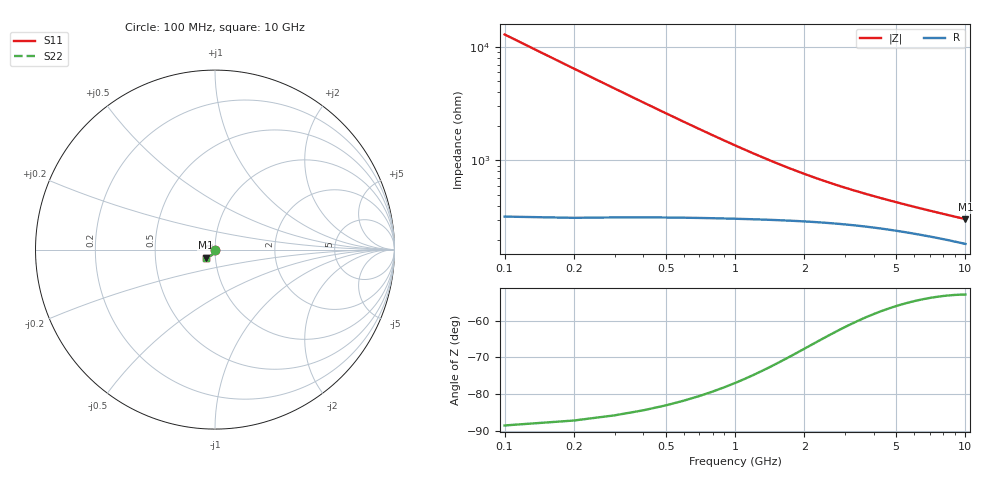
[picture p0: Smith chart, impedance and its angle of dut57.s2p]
! Touchstone file exported from HFSS 2024.1.0
!  File:  C:/UserFiles/LocalFiles/RDL_TSV_Batchsim/temp_TSV1_57_1778827033.aedt
!  Generated:  02:41:03 PM May 15, 2026
!  Design:  TSV1
!  Project:  temp_TSV1_57_1778827033
!  Setup:  Setup1
!  Solution:  Sweep
! Variables:
!  dtsv = 17.82um
!  hbump = 3um
!  htsv = 56.54um
!  lrdl = 252.1521522um
!  p = 40
!  p1 = 43.43um
!  t = 500um
!  trdl = 3um
!  wrdl = 24.89489489um
# GHz S MA R 50.000000
! Terminal data exported
! Port[1] = TSV22_T1
! Port[2] = TSV22_T2
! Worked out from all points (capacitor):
!   100 points, 100 MHz to 10 GHz, reference 50 ohm
!   read as one part in shunt: C = 123 fF near 100 MHz
!   lowest |Z| = 304 ohm at 10 GHz (marker M1)
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0.1  0.00173 -89.3  0.9999 -0.1  0.9999 -0.1  0.00173 -89.3
! Gamma 0 0 0 0
! Port Impedance 50 0 50 0
0.2  0.003477 -91.8  0.9997 -0.2  0.9997 -0.2  0.003477 -91.8
0.3  0.005212 -93.8  0.9995 -0.4  0.9995 -0.4  0.005212 -93.8
0.4  0.006927 -95.5  0.9991 -0.5  0.9991 -0.5  0.006927 -95.5
0.5  0.008619 -97.2  0.9987 -0.6  0.9987 -0.6  0.008619 -97.2
0.6  0.01028 -98.8  0.9982 -0.7  0.9982 -0.7  0.01028 -98.8
0.7  0.01192 -100.3  0.9976 -0.8  0.9976 -0.8  0.01192 -100.3
0.8  0.01351 -101.8  0.9969 -0.9  0.9969 -0.9  0.01351 -101.8
0.9  0.01507 -103.2  0.9962 -1.0  0.9962 -1.0  0.01507 -103.2
1.1  0.01806 -106.0  0.9947 -1.2  0.9947 -1.2  0.01806 -106.0
1.4  0.02221 -109.7  0.9922 -1.5  0.9922 -1.5  0.02221 -109.7
1.6  0.02475 -112.0  0.9905 -1.6  0.9905 -1.6  0.02475 -112.0
1.8  0.02712 -114.1  0.9887 -1.8  0.9887 -1.8  0.02712 -114.1
2.1  0.03035 -116.9  0.9861 -2.0  0.9861 -2.0  0.03035 -116.9
2.5  0.03416 -120.2  0.9827 -2.2  0.9827 -2.2  0.03416 -120.2
2.9  0.03747 -122.9  0.9796 -2.4  0.9796 -2.4  0.03747 -122.9
3.4  0.04107 -125.6  0.9761 -2.6  0.9761 -2.6  0.04107 -125.6
4.2  0.04591 -129.0  0.9712 -2.9  0.9712 -2.9  0.04591 -129.0
5.1  0.05043 -131.7  0.9667 -3.2  0.9667 -3.2  0.05043 -131.7
6.7  0.05693 -135.0  0.9602 -3.6  0.9602 -3.6  0.05693 -135.0
8.4  0.06245 -137.2  0.9548 -4.1  0.9548 -4.1  0.06245 -137.2
10  0.06677 -138.6  0.9507 -4.5  0.9507 -4.5  0.06677 -138.6
